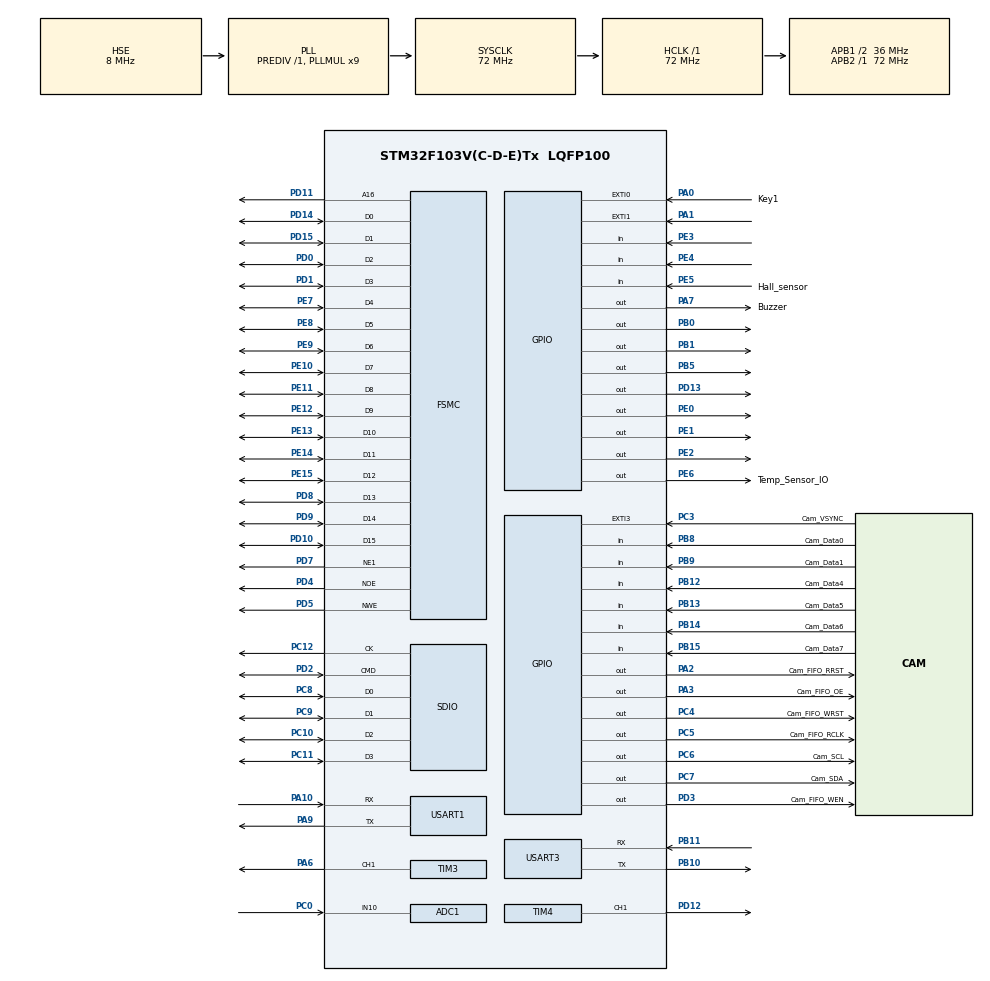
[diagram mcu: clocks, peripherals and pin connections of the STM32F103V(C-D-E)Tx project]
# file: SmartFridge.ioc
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ADC1.Channel-0\#ChannelRegularConversion=ADC_CHANNEL_10
ADC1.NbrOfConversionFlag=1
ADC1.Rank-0\#ChannelRegularConversion=1
ADC1.SamplingTime-0\#ChannelRegularConversion=ADC_SAMPLETIME_55CYCLES_5
ADC1.master=1
IWDG.Prescaler=IWDG_PRESCALER_128
Mcu.Family=STM32F1
Mcu.Name=STM32F103V(C-D-E)Tx
Mcu.Package=LQFP100
NVIC.EXTI0_IRQn=true\:0\:0\:false\:false\:true\:true\:true
NVIC.EXTI1_IRQn=true\:0\:0\:false\:false\:true\:true\:true
NVIC.EXTI3_IRQn=true\:0\:0\:false\:false\:false\:true\:true
NVIC.PriorityGroup=NVIC_PRIORITYGROUP_4
NVIC.SDIO_IRQn=true\:0\:0\:false\:false\:true\:true\:true
NVIC.TIM2_IRQn=true\:0\:0\:false\:false\:true\:true\:true
NVIC.USART3_IRQn=true\:0\:0\:false\:false\:true\:true\:true
OSC_IN.Mode=HSE-External-Oscillator
OSC_IN.Signal=RCC_OSC_IN
OSC_OUT.Mode=HSE-External-Oscillator
OSC_OUT.Signal=RCC_OSC_OUT
PA0-WKUP.GPIO_Label=Key1
PA0-WKUP.Signal=GPXTI0
PA1.Signal=GPXTI1
PA10.Mode=Asynchronous
PA10.Signal=USART1_RX
PA13.Mode=Serial_Wire
PA13.Signal=SYS_JTMS-SWDIO
PA14.Mode=Serial_Wire
PA14.Signal=SYS_JTCK-SWCLK
PA2.GPIO_Label=Cam_FIFO_RRST
PA2.GPIO_Speed=GPIO_SPEED_FREQ_HIGH
PA2.Signal=GPIO_Output
PA3.GPIO_Label=Cam_FIFO_OE
PA3.GPIO_Speed=GPIO_SPEED_FREQ_HIGH
PA3.Signal=GPIO_Output
PA6.Signal=S_TIM3_CH1
PA7.GPIO_Label=Buzzer
PA7.GPIO_Speed=GPIO_SPEED_FREQ_HIGH
PA7.PinState=GPIO_PIN_RESET
PA7.Signal=GPIO_Output
PA9.Mode=Asynchronous
PA9.Signal=USART1_TX
PB0.GPIO_Speed=GPIO_SPEED_FREQ_HIGH
PB0.PinState=GPIO_PIN_SET
PB0.Signal=GPIO_Output
PB1.GPIO_Speed=GPIO_SPEED_FREQ_HIGH
PB1.PinState=GPIO_PIN_SET
PB1.Signal=GPIO_Output
PB10.Mode=Asynchronous
PB10.Signal=USART3_TX
PB11.Mode=Asynchronous
PB11.Signal=USART3_RX
PB12.GPIO_Label=Cam_Data4
PB12.Signal=GPIO_Input
PB13.GPIO_Label=Cam_Data5
PB13.Signal=GPIO_Input
PB14.GPIO_Label=Cam_Data6
PB14.Signal=GPIO_Input
PB15.GPIO_Label=Cam_Data7
PB15.Signal=GPIO_Input
PB5.GPIO_Speed=GPIO_SPEED_FREQ_HIGH
PB5.PinState=GPIO_PIN_SET
PB5.Signal=GPIO_Output
PB8.GPIO_Label=Cam_Data0
PB8.Signal=GPIO_Input
PB9.GPIO_Label=Cam_Data1
PB9.Signal=GPIO_Input
PC0.Signal=ADCx_IN10
PC10.Mode=SD_4_bits_Wide_bus
PC10.Signal=SDIO_D2
PC11.Mode=SD_4_bits_Wide_bus
PC11.Signal=SDIO_D3
PC12.Mode=SD_4_bits_Wide_bus
PC12.Signal=SDIO_CK
PC14-OSC32_IN.Mode=LSE-External-Oscillator
PC14-OSC32_IN.Signal=RCC_OSC32_IN
PC15-OSC32_OUT.Mode=LSE-External-Oscillator
PC15-OSC32_OUT.Signal=RCC_OSC32_OUT
PC3.GPIO_Label=Cam_VSYNC
PC3.Signal=GPXTI3
PC4.GPIO_Label=Cam_FIFO_WRST
PC4.GPIO_Speed=GPIO_SPEED_FREQ_HIGH
PC4.Signal=GPIO_Output
PC5.GPIO_Label=Cam_FIFO_RCLK
PC5.GPIO_Speed=GPIO_SPEED_FREQ_HIGH
PC5.Signal=GPIO_Output
PC6.GPIO_Label=Cam_SCL
PC6.GPIO_ModeDefaultOutputPP=GPIO_MODE_OUTPUT_OD
PC6.GPIO_PuPd=GPIO_NOPULL
PC6.GPIO_Speed=GPIO_SPEED_FREQ_MEDIUM
PC6.Signal=GPIO_Output
PC7.GPIO_Label=Cam_SDA
PC7.GPIO_ModeDefaultOutputPP=GPIO_MODE_OUTPUT_OD
PC7.GPIO_PuPd=GPIO_NOPULL
PC7.GPIO_Speed=GPIO_SPEED_FREQ_MEDIUM
PC7.Signal=GPIO_Output
PC8.Mode=SD_4_bits_Wide_bus
PC8.Signal=SDIO_D0
PC9.Mode=SD_4_bits_Wide_bus
PC9.Signal=SDIO_D1
PD0.Mode=16b-d1
PD0.Signal=FSMC_D2
PD1.Mode=16b-d1
PD1.Signal=FSMC_D3
PD10.Mode=16b-d1
PD10.Signal=FSMC_D15
PD11.Mode=A16_1
PD11.Signal=FSMC_A16
PD12.Signal=S_TIM4_CH1
PD13.GPIO_Speed=GPIO_SPEED_FREQ_HIGH
PD13.Signal=GPIO_Output
PD14.Mode=16b-d1
PD14.Signal=FSMC_D0
PD15.Mode=16b-d1
PD15.Signal=FSMC_D1
PD2.Mode=SD_4_bits_Wide_bus
PD2.Signal=SDIO_CMD
PD3.GPIO_Label=Cam_FIFO_WEN
PD3.GPIO_Speed=GPIO_SPEED_FREQ_HIGH
PD3.Signal=GPIO_Output
PD4.Mode=Lcd1
PD4.Signal=FSMC_NOE
PD5.Mode=Lcd1
PD5.Signal=FSMC_NWE
PD7.Mode=NorPsramChipSelect1_1
PD7.Signal=FSMC_NE1
PD8.Mode=16b-d1
PD8.Signal=FSMC_D13
PD9.Mode=16b-d1
PD9.Signal=FSMC_D14
PE0.Signal=GPIO_Output
PE1.GPIO_Speed=GPIO_SPEED_FREQ_HIGH
PE1.Signal=GPIO_Output
PE10.Mode=16b-d1
PE10.Signal=FSMC_D7
PE11.Mode=16b-d1
PE11.Signal=FSMC_D8
PE12.Mode=16b-d1
PE12.Signal=FSMC_D9
PE13.Mode=16b-d1
PE13.Signal=FSMC_D10
PE14.Mode=16b-d1
PE14.Signal=FSMC_D11
PE15.Mode=16b-d1
PE15.Signal=FSMC_D12
PE2.GPIO_Speed=GPIO_SPEED_FREQ_HIGH
PE2.Signal=GPIO_Output
PE3.GPIO_PuPd=GPIO_PULLUP
PE3.Signal=GPIO_Input
PE4.GPIO_PuPd=GPIO_PULLUP
PE4.Signal=GPIO_Input
PE5.GPIO_Label=Hall_sensor
PE5.Signal=GPIO_Input
PE6.GPIO_Label=Temp_Sensor_IO
PE6.GPIO_ModeDefaultOutputPP=GPIO_MODE_OUTPUT_PP
PE6.GPIO_Speed=GPIO_SPEED_FREQ_HIGH
PE6.PinState=GPIO_PIN_SET
PE6.Signal=GPIO_Output
PE7.Mode=16b-d1
PE7.Signal=FSMC_D4
PE8.Mode=16b-d1
PE8.Signal=FSMC_D5
PE9.Mode=16b-d1
PE9.Signal=FSMC_D6
ProjectManager.HeapSize=0x200
ProjectManager.StackSize=0x400
ProjectManager.TargetToolchain=Makefile
RCC.ADCPresc=RCC_ADCPCLK2_DIV6
RCC.AHBFreq_Value=72000000
RCC.APB1CLKDivider=RCC_HCLK_DIV2
RCC.APB1Freq_Value=36000000
RCC.APB1TimFreq_Value=72000000
RCC.APB2Freq_Value=72000000
RCC.APB2TimFreq_Value=72000000
RCC.HCLKFreq_Value=72000000
RCC.PLLMUL=RCC_PLL_MUL9
RCC.PLLSourceVirtual=RCC_PLLSOURCE_HSE
RCC.SYSCLKFreq_VALUE=72000000
RCC.SYSCLKSource=RCC_SYSCLKSOURCE_PLLCLK
RCC.USBFreq_Value=72000000
SDIO.ClockDiv=4
SH.ADCx_IN10.0=ADC1_IN10,IN10
SH.S_TIM3_CH1.0=TIM3_CH1,PWM Generation1 CH1
SH.S_TIM4_CH1.0=TIM4_CH1,PWM Generation1 CH1
TIM2.AutoReloadPreload=TIM_AUTORELOAD_PRELOAD_ENABLE
TIM2.Period=72
TIM2.Prescaler=1000
TIM3.Channel-PWM\ Generation1\ CH1=TIM_CHANNEL_1
TIM3.Period=63
TIM3.Prescaler=0
TIM3.Pulse-PWM\ Generation1\ CH1=16
TIM4.Channel-PWM\ Generation1\ CH1=TIM_CHANNEL_1
TIM4.Period=127
TIM4.Prescaler=9999
TIM4.Pulse-PWM\ Generation1\ CH1=16
TIM6.Period=0xfffe
TIM6.Prescaler=71
USART1.VirtualMode=VM_ASYNC
USART3.VirtualMode=VM_ASYNC
VP_FATFS_VS_SDIO.Mode=SDIO
VP_IWDG_VS_IWDG.Mode=IWDG_Activate
VP_RTC_VS_RTC_Activate.Mode=RTC_Enabled
VP_RTC_VS_RTC_Calendar.Mode=RTC_Calendar
VP_TIM2_VS_ClockSourceINT.Mode=Internal
VP_TIM3_VS_ClockSourceINT.Mode=Internal
VP_TIM4_VS_ClockSourceINT.Mode=Internal
VP_TIM6_VS_ClockSourceINT.Mode=Enable_Timer
board=custom

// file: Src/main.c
/* USER CODE BEGIN Header */
/**
  ******************************************************************************
  * @file           : main.c
  * @brief          : Main program body
  ******************************************************************************
  * @attention
  *
  * <h2><center>&copy; Copyright (c) 2020 STMicroelectronics.
  * All rights reserved.</center></h2>
  *
  * This software component is licensed by ST under BSD 3-Clause license,
  * the "License"; You may not use this file except in compliance with the
  * License. You may obtain a copy of the License at:
  *                        opensource.org/licenses/BSD-3-Clause
  *
  ******************************************************************************
  */
/* USER CODE END Header */

#include "main.h"
#include "adc.h"
#include "fatfs.h"
#include "iwdg.h"
#include "rtc.h"
#include "sdio.h"
#include "tim.h"
#include "usart.h"
#include "gpio.h"
#include "fsmc.h"

/* USER CODE BEGIN Includes */
#include "debug.h"
#include "task.h"
#include "esp8266.h"
#include "sal_module_wrapper.h"
#include "tos_at.h"
#include "stm32f1xx_it.h"
#include "file_handling.h"
#include "temp_sensor.h"
#include "lcd_tft.h"
#include "bsp_ov7725.h"
#include "pwm_control.h"
#include "sntp.h"
#include "display_content.h"

/* USER CODE END Includes */

void SystemClock_Config(void);

int main(void)
{

  /* MCU Configuration--------------------------------------------------------*/

  /* Reset of all peripherals, Initializes the Flash interface and the Systick. */
  HAL_Init();

  /* Configure the system clock */
  SystemClock_Config();

  /* Initialize all configured peripherals */
  MX_GPIO_Init();
  MX_FSMC_Init();
  MX_USART1_UART_Init();
  MX_USART3_UART_Init();
  MX_SDIO_SD_Init();
  MX_FATFS_Init();
  MX_TIM6_Init();
  MX_TIM4_Init();
  MX_RTC_Init();
  MX_ADC1_Init();
  MX_TIM2_Init();
  MX_IWDG_Init();
  MX_TIM3_Init();
  /* USER CODE BEGIN 2 */
  HAL_TIM_Base_Start(&htim6);
  HAL_TIM_Base_Start_IT(&htim2);
  HAL_TIM_PWM_Start(&htim4, TIM_CHANNEL_1);
  HAL_TIM_PWM_Start(&htim3, TIM_CHANNEL_1);
  HAL_ADCEx_Calibration_Start(&hadc1);

  LCD_Init();
  LCD_GramScan(6);
  lv_init();
  XPT2046_Init();
  lv_disp_buf_t disp_buf;
  lv_color_t buf[LV_HOR_RES_MAX * LV_VER_RES_MAX / 10];
  lv_disp_buf_init(&disp_buf, buf, NULL, LV_HOR_RES_MAX * LV_VER_RES_MAX / 10);

  lv_disp_drv_t disp_drv;
  lv_disp_drv_init(&disp_drv);

  disp_drv.flush_cb = my_disp_flush;
  disp_drv.buffer = &disp_buf;
  lv_disp_drv_register(&disp_drv);

  lv_indev_drv_t indev_drv;
  lv_indev_drv_init(&indev_drv);
  indev_drv.type = LV_INDEV_TYPE_POINTER;
  indev_drv.read_cb = my_touchpad_read;
  lv_indev_drv_register(&indev_drv);

  // OV7725_Init();

  tos_knl_init();
  // Mutex creation
  tos_mutex_create(&pb8_pb9_mutex);
  tos_mutex_create(&display_touch_locker);
  tos_mutex_create(&rtc_update_locker);
  tos_mutex_create(&temp_update_locker);
  // Completion creation
  tos_completion_create(&wifi_connect_success);
  tos_completion_create(&sntp_success);
  tos_task_create_dyn(&k_init_image, "init_image", task_init_image, NULL,
                      3, INIT_IMAGE_SIZE, 0);
  tos_task_create_dyn(&k_wifi_connect, "wifi_connect", task_wifi_connect, NULL,
                      4, WIFI_TEST_CONNECT_SIZE, 0);
  tos_task_create(&k_temp_update, "temp_update", task_temp_update, NULL,
                  2, k_temp_update_stk, TEMP_UPDATE_SIZE, 0);
  // tos_task_create_dyn(&k_camera_init, "camera_init", task_camera_init, NULL,
  //                     2, CAMERA_INIT_SIZE, 0);
  tos_knl_start();

  /* USER CODE END 2 */

  /* Infinite loop */
  while (1)
  {

  }
}

void SystemClock_Config(void)
{
  RCC_OscInitTypeDef RCC_OscInitStruct = {0};
  RCC_ClkInitTypeDef RCC_ClkInitStruct = {0};
  RCC_PeriphCLKInitTypeDef PeriphClkInit = {0};

  /** Initializes the CPU, AHB and APB busses clocks
  */
  RCC_OscInitStruct.OscillatorType = RCC_OSCILLATORTYPE_LSI | RCC_OSCILLATORTYPE_HSE;
  RCC_OscInitStruct.HSEState = RCC_HSE_ON;
  RCC_OscInitStruct.HSEPredivValue = RCC_HSE_PREDIV_DIV1;
  RCC_OscInitStruct.HSIState = RCC_HSI_ON;
  RCC_OscInitStruct.LSIState = RCC_LSI_ON;
  RCC_OscInitStruct.PLL.PLLState = RCC_PLL_ON;
  RCC_OscInitStruct.PLL.PLLSource = RCC_PLLSOURCE_HSE;
  RCC_OscInitStruct.PLL.PLLMUL = RCC_PLL_MUL9;
  if (HAL_RCC_OscConfig(&RCC_OscInitStruct) != HAL_OK)
  {
    Error_Handler();
  }
  /** Initializes the CPU, AHB and APB busses clocks
  */
  RCC_ClkInitStruct.ClockType = RCC_CLOCKTYPE_HCLK | RCC_CLOCKTYPE_SYSCLK | RCC_CLOCKTYPE_PCLK1 | RCC_CLOCKTYPE_PCLK2;
  RCC_ClkInitStruct.SYSCLKSource = RCC_SYSCLKSOURCE_PLLCLK;
  RCC_ClkInitStruct.AHBCLKDivider = RCC_SYSCLK_DIV1;
  RCC_ClkInitStruct.APB1CLKDivider = RCC_HCLK_DIV2;
  RCC_ClkInitStruct.APB2CLKDivider = RCC_HCLK_DIV1;

  if (HAL_RCC_ClockConfig(&RCC_ClkInitStruct, FLASH_LATENCY_2) != HAL_OK)
  {
    Error_Handler();
  }
  PeriphClkInit.PeriphClockSelection = RCC_PERIPHCLK_RTC | RCC_PERIPHCLK_ADC;
  PeriphClkInit.RTCClockSelection = RCC_RTCCLKSOURCE_LSI;
  PeriphClkInit.AdcClockSelection = RCC_ADCPCLK2_DIV6;
  if (HAL_RCCEx_PeriphCLKConfig(&PeriphClkInit) != HAL_OK)
  {
    Error_Handler();
  }
}

/* USER CODE BEGIN 4 */
uint16_t lcd_timer_tick = 0;
uint8_t alarm_counter = 0;
void HAL_TIM_PeriodElapsedCallback(TIM_HandleTypeDef *htim)
{
  if (htim->Instance == TIM2)
  {
    lv_tick_inc(1);

    lcd_timer_tick++;
    if (lcd_timer_tick >= 1500)
    {
      lcd_adc_read();
      if (lcd_adc_index == 5)
      {
        lcd_adc_index = 0;
        lcd_adc_average = 0;
        int i = 0;
        for (int i = 0; i < 5; ++i)
        {
          lcd_adc_average += lcd_adc_sample_list[i];
        }
        lcd_adc_average /= 5;
        int lcd_pwm_result = (int)(LCD_ADC_2_PWM_K * lcd_adc_average + LCD_ADC_2_PWM_B);
        if (lcd_pwm_value > LCD_MAX_PWM_PULSE)
        {
          lcd_pwm_result = LCD_MAX_PWM_PULSE;
        }
        else if (lcd_pwm_result < LCD_MIN_PWM_PULSE)
        {
          lcd_pwm_result = LCD_MIN_PWM_PULSE;
        }
        lcd_pwm_set_value(lcd_pwm_result);
      }

      lcd_timer_tick = 0;

      HAL_IWDG_Refresh(&hiwdg);

      if (HAL_GPIO_ReadPin(GPIOE, GPIO_PIN_5) == GPIO_PIN_SET)
      {
        alarm_counter++;
      }
      else
      {
        alarm_counter = 0;
      }

      if (alarm_counter >= 20)
      {
        HAL_GPIO_WritePin(GPIOA, GPIO_PIN_7, GPIO_PIN_SET);
        HAL_GPIO_WritePin(LED_GPIO_PORT, LED_RED_GPIO_PIN, GPIO_PIN_RESET);
      }
      else
      {
        HAL_GPIO_WritePin(GPIOA, GPIO_PIN_7, GPIO_PIN_RESET);
        HAL_GPIO_WritePin(LED_GPIO_PORT, LED_RED_GPIO_PIN, GPIO_PIN_SET);
      }
    }
  }
}
/* USER CODE END 4 */

void Error_Handler(void)
{
}

/************************ (C) COPYRIGHT STMicroelectronics *****END OF FILE****/
